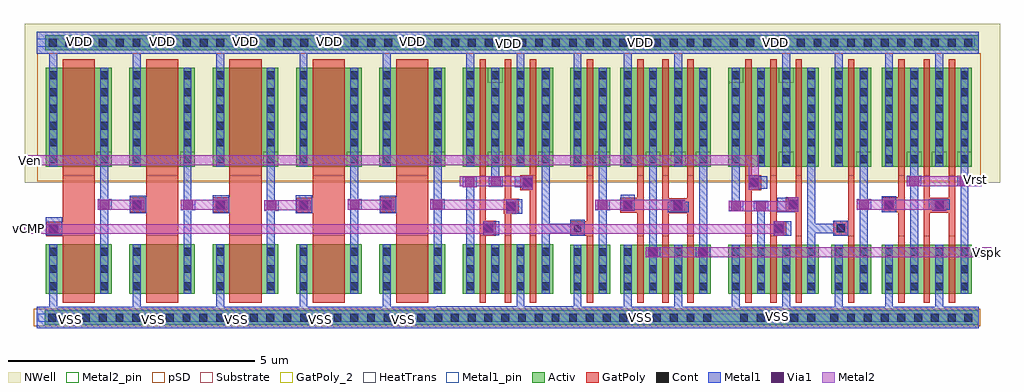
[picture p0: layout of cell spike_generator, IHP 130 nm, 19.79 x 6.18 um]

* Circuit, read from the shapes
.subckt spike_generator VDD VSS Ven Vrst Vspk vCMP
XM1 n1 vCMP VSS VSS sg13_lv_nmos w=1u l=0.65u
XM2 n2 n1 VSS VSS sg13_lv_nmos w=1u l=0.65u
XM3 n3 n2 VSS VSS sg13_lv_nmos w=1u l=0.65u
XM4 n4 n3 VSS VSS sg13_lv_nmos w=1u l=0.65u
XM5 n5 n4 VSS VSS sg13_lv_nmos w=1u l=0.65u
XM6 n6 vCMP n7 VSS sg13_lv_nmos w=1u l=0.13u
XM7 VSS n5 n6 VSS sg13_lv_nmos w=1u l=0.13u
XM8 n8 n7 VSS VSS sg13_lv_nmos w=1u l=0.13u
XM9 n9 n8 VSS VSS sg13_lv_nmos w=1u l=0.13u
XM10 Vspk n9 VSS VSS sg13_lv_nmos w=1u l=0.13u m=3
XM11 n10 Ven VSS VSS sg13_lv_nmos w=1u l=0.13u
XM12 VSS vCMP n10 VSS sg13_lv_nmos w=1u l=0.13u
XM13 n11 n10 VSS VSS sg13_lv_nmos w=1u l=0.13u
XM14 n12 n11 VSS VSS sg13_lv_nmos w=1u l=0.13u
XM15 Vrst n12 VSS VSS sg13_lv_nmos w=1u l=0.13u m=3
XM16 n1 vCMP VDD VDD sg13_lv_pmos w=2u l=0.65u
XM17 n2 n1 VDD VDD sg13_lv_pmos w=2u l=0.65u
XM18 n3 n2 VDD VDD sg13_lv_pmos w=2u l=0.65u
XM19 n4 n3 VDD VDD sg13_lv_pmos w=2u l=0.65u
XM20 n5 n4 VDD VDD sg13_lv_pmos w=2u l=0.65u
XM21 n7 vCMP VDD VDD sg13_lv_pmos w=2u l=0.13u
XM22 VDD n5 n7 VDD sg13_lv_pmos w=2u l=0.13u
XM23 n8 n7 VDD VDD sg13_lv_pmos w=2u l=0.13u
XM24 n9 n8 VDD VDD sg13_lv_pmos w=2u l=0.13u
XM25 Vspk n9 VDD VDD sg13_lv_pmos w=2u l=0.13u m=3
XM26 n13 Ven n10 VDD sg13_lv_pmos w=2u l=0.13u
XM27 VDD vCMP n13 VDD sg13_lv_pmos w=2u l=0.13u
XM28 n11 n10 VDD VDD sg13_lv_pmos w=2u l=0.13u
XM29 n12 n11 VDD VDD sg13_lv_pmos w=2u l=0.13u
XM30 Vrst n12 VDD VDD sg13_lv_pmos w=2u l=0.13u m=3
.ends

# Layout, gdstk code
from math import pi, radians
import gdstk
lib = gdstk.Library(unit=1e-6, precision=1e-09)
def R(c, l, rs):  # rectangles x0, y0, x1, y1
    for r in rs: c.add(gdstk.rectangle(r[:2], r[2:], *l))
def A(c, l, x, y, w, h, nx, ny, dx, dy):  # array of equal rectangles
    R(c, l, [(x+i*dx, y+j*dy, x+i*dx+w, y+j*dy+h) for i in range(nx) for j in range(ny)])
def P(c, l, *ps):  # polygons
    for p in ps: c.add(gdstk.Polygon(p, *l))
Activ = (1, 0)
GatPoly = (5, 0)
GatPoly_2 = (5, 2)
Cont = (6, 0)
Metal1 = (8, 0)
Metal1_pin = (8, 2)
Metal2 = (10, 0)
Metal2_pin = (10, 2)
pSD = (14, 0)
Via1 = (19, 0)
NWell = (31, 0)
Substrate = (40, 0)
HeatTrans = (51, 0)

nmos = lib.new_cell('nmos')
R(nmos, Activ, [(0,0,0.3,0.3), (0,0,0.81,1), (0.51,0,0.81,0.3)])
R(nmos, GatPoly, [(0.34,-0.18,0.47,1.18)])
R(nmos, GatPoly_2, [(0.34,-0.18,0.47,1.18)])
A(nmos, Cont, 0.07, 0.07, 0.16, 0.16, 1, 3, 0, 0.35)
A(nmos, Cont, 0.58, 0.07, 0.16, 0.16, 1, 3, 0, 0.35)
R(nmos, Metal1, [(0.07,0,0.23,1), (0.58,0,0.74,1)])
R(nmos, Metal1_pin, [(0.07,0,0.23,1), (0.58,0,0.74,1)])
R(nmos, HeatTrans, [(0.34,-0.18,0.47,1.18)])
nmos.add(gdstk.Label('nmos', (0.405,0.5), layer=63, texttype=0))
nmos.add(gdstk.Label('nmos', (0.405,0.5), layer=51, texttype=0))

via_stack = lib.new_cell('via_stack')
R(via_stack, Metal1, [(-0.145,-0.105,0.145,0.105)])
R(via_stack, Metal2, [(-0.145,-0.1,0.145,0.1)])
R(via_stack, Via1, [(-0.095,-0.095,0.095,0.095)])

pmos = lib.new_cell('pmos')
R(pmos, Activ, [(0,0,0.3,0.3), (0,0,0.81,2), (0.51,0,0.81,0.3)])
R(pmos, GatPoly, [(0.34,-0.18,0.47,2.18), (0.34,-0.18,0.47,2.18)])
A(pmos, Cont, 0.07, 0.07, 0.16, 0.16, 1, 6, 0, 0.34)
A(pmos, Cont, 0.58, 0.07, 0.16, 0.16, 1, 6, 0, 0.34)
R(pmos, Metal1, [(0.07,0,0.23,2), (0.07,0,0.23,2), (0.58,0,0.74,2), (0.58,0,0.74,2)])
R(pmos, pSD, [(-0.18,-0.3,0.99,2.3)])
R(pmos, NWell, [(-0.31,-0.31,1.12,2.31)])
R(pmos, Substrate, [(0.51,0,0.81,0.3)])
R(pmos, HeatTrans, [(0.34,-0.18,0.47,2.18)])
pmos.add(gdstk.Label('pmos', (0.405,1), layer=63, texttype=0))
pmos.add(gdstk.Label('pmos', (0.405,1), layer=51, texttype=0))

via_stack_5 = lib.new_cell('via_stack$5')
R(via_stack_5, Activ, [(-1.51,-0.15,1.51,0.15)])
A(via_stack_5, Cont, -1.44, -0.08, 0.16, 0.16, 9, 1, 0.34, 0)
R(via_stack_5, Metal1, [(-1.49,-0.08,1.49,0.08)])

via_stack_2 = lib.new_cell('via_stack$2')
R(via_stack_2, GatPoly, [(-0.15,-0.15,0.15,0.15)])
R(via_stack_2, Cont, [(-0.08,-0.08,0.08,0.08)])
R(via_stack_2, Metal1, [(-0.145,-0.105,0.145,0.105)])
R(via_stack_2, Metal2, [(-0.145,-0.1,0.145,0.1)])
R(via_stack_2, Via1, [(-0.095,-0.095,0.095,0.095)])

via_stack_6 = lib.new_cell('via_stack$6')
R(via_stack_6, GatPoly, [(-0.15,-0.15,0.15,0.15)])
R(via_stack_6, Cont, [(-0.08,-0.08,0.08,0.08)])
R(via_stack_6, Metal1, [(-0.13,-0.08,0.13,0.08)])

via_stack_2_10 = lib.new_cell('via_stack$2$10')
R(via_stack_2_10, GatPoly, [(-5.15,-5.15,-4.85,-4.85)])
R(via_stack_2_10, Cont, [(-5.08,-5.08,-4.92,-4.92)])
R(via_stack_2_10, Metal1, [(-5.145,-5.105,-4.855,-4.895)])
R(via_stack_2_10, Metal2, [(-5.145,-5.1,-4.855,-4.9)])
R(via_stack_2_10, Via1, [(-5.095,-5.095,-4.905,-4.905)])

via_stack_3_4 = lib.new_cell('via_stack$3$4')
R(via_stack_3_4, Metal1, [(-5.145,-5.105,-4.855,-4.895)])
R(via_stack_3_4, Metal2, [(-5.145,-5.1,-4.855,-4.9)])
R(via_stack_3_4, Via1, [(-5.095,-5.095,-4.905,-4.905)])

nmos_1_5 = lib.new_cell('nmos$1$5')
R(nmos_1_5, Activ, [(-5,-5,-4.7,-4.7), (-5,-5,-4.19,-4), (-4.49,-5,-4.19,-4.7)])
R(nmos_1_5, GatPoly, [(-4.66,-5.18,-4.53,-3.82)])
R(nmos_1_5, GatPoly_2, [(-4.66,-5.18,-4.53,-3.82)])
A(nmos_1_5, Cont, -4.93, -4.93, 0.16, 0.16, 1, 3, 0, 0.35)
A(nmos_1_5, Cont, -4.42, -4.93, 0.16, 0.16, 1, 3, 0, 0.35)
R(nmos_1_5, Metal1, [(-4.93,-5,-4.77,-4), (-4.42,-5,-4.26,-4)])
R(nmos_1_5, Metal1_pin, [(-4.93,-5,-4.77,-4), (-4.42,-5,-4.26,-4)])
R(nmos_1_5, HeatTrans, [(-4.66,-5.18,-4.53,-3.82)])
nmos_1_5.add(gdstk.Label('nmos', (-4.595,-4.5), layer=63, texttype=0))
nmos_1_5.add(gdstk.Label('nmos', (-4.595,-4.5), layer=51, texttype=0))

pmos_1_10 = lib.new_cell('pmos$1$10')
R(pmos_1_10, Activ, [(-5,-5,-4.7,-4.7), (-5,-5,-4.19,-3), (-4.49,-5,-4.19,-4.7)])
R(pmos_1_10, GatPoly, [(-4.66,-5.18,-4.53,-2.82), (-4.66,-5.18,-4.53,-2.82)])
A(pmos_1_10, Cont, -4.93, -4.93, 0.16, 0.16, 1, 6, 0, 0.34)
A(pmos_1_10, Cont, -4.42, -4.93, 0.16, 0.16, 1, 6, 0, 0.34)
R(pmos_1_10, Metal1, [(-4.93,-5,-4.77,-3), (-4.93,-5,-4.77,-3), (-4.42,-5,-4.26,-3), (-4.42,-5,-4.26,-3)])
R(pmos_1_10, pSD, [(-5.18,-5.3,-4.01,-2.7)])
R(pmos_1_10, NWell, [(-5.31,-5.31,-3.88,-2.69)])
R(pmos_1_10, Substrate, [(-4.49,-5,-4.19,-4.7)])
R(pmos_1_10, HeatTrans, [(-4.66,-5.18,-4.53,-2.82)])
pmos_1_10.add(gdstk.Label('pmos', (-4.595,-4), layer=63, texttype=0))
pmos_1_10.add(gdstk.Label('pmos', (-4.595,-4), layer=51, texttype=0))

pmos_1_9 = lib.new_cell('pmos$1$9')
R(pmos_1_9, Activ, [(-5,-5,-4.7,-4.7), (-5,-5,-3.67,-3), (-3.97,-5,-3.67,-4.7)])
R(pmos_1_9, GatPoly, [(-4.66,-5.18,-4.01,-2.82), (-4.66,-5.18,-4.01,-2.82)])
A(pmos_1_9, Cont, -4.93, -4.93, 0.16, 0.16, 1, 6, 0, 0.34)
A(pmos_1_9, Cont, -3.9, -4.93, 0.16, 0.16, 1, 6, 0, 0.34)
R(pmos_1_9, Metal1, [(-4.93,-5,-4.77,-3), (-4.93,-5,-4.77,-3), (-3.9,-5,-3.74,-3), (-3.9,-5,-3.74,-3)])
R(pmos_1_9, pSD, [(-5.18,-5.3,-3.49,-2.7)])
R(pmos_1_9, NWell, [(-5.31,-5.31,-3.36,-2.69)])
R(pmos_1_9, Substrate, [(-3.97,-5,-3.67,-4.7)])
R(pmos_1_9, HeatTrans, [(-4.66,-5.18,-4.01,-2.82)])
pmos_1_9.add(gdstk.Label('pmos', (-4.335,-4), layer=63, texttype=0))
pmos_1_9.add(gdstk.Label('pmos', (-4.335,-4), layer=51, texttype=0))

nmos_5 = lib.new_cell('nmos$5')
R(nmos_5, Activ, [(-5,-5,-4.7,-4.7), (-5,-5,-3.67,-4), (-3.97,-5,-3.67,-4.7)])
R(nmos_5, GatPoly, [(-4.66,-5.18,-4.01,-3.82)])
R(nmos_5, GatPoly_2, [(-4.66,-5.18,-4.01,-3.82)])
A(nmos_5, Cont, -4.93, -4.93, 0.16, 0.16, 1, 3, 0, 0.35)
A(nmos_5, Cont, -3.9, -4.93, 0.16, 0.16, 1, 3, 0, 0.35)
R(nmos_5, Metal1, [(-4.93,-5,-4.77,-4), (-3.9,-5,-3.74,-4)])
R(nmos_5, Metal1_pin, [(-4.93,-5,-4.77,-4), (-3.9,-5,-3.74,-4)])
R(nmos_5, HeatTrans, [(-4.66,-5.18,-4.01,-3.82)])
nmos_5.add(gdstk.Label('nmos', (-4.335,-4.5), layer=63, texttype=0))
nmos_5.add(gdstk.Label('nmos', (-4.335,-4.5), layer=51, texttype=0))

pmos_1_8 = lib.new_cell('pmos$1$8')
R(pmos_1_8, Activ, [(-5,-5,-4.7,-4.7), (-5,-5,-3.67,-3), (-3.97,-5,-3.67,-4.7)])
R(pmos_1_8, GatPoly, [(-4.66,-5.18,-4.01,-2.82), (-4.66,-5.18,-4.01,-2.82)])
A(pmos_1_8, Cont, -4.93, -4.93, 0.16, 0.16, 1, 6, 0, 0.34)
A(pmos_1_8, Cont, -3.9, -4.93, 0.16, 0.16, 1, 6, 0, 0.34)
R(pmos_1_8, Metal1, [(-4.93,-5,-4.77,-3), (-4.93,-5,-4.77,-3), (-3.9,-5,-3.74,-3), (-3.9,-5,-3.74,-3)])
R(pmos_1_8, pSD, [(-5.18,-5.3,-3.49,-2.7)])
R(pmos_1_8, NWell, [(-5.31,-5.31,-3.36,-2.69)])
R(pmos_1_8, Substrate, [(-3.97,-5,-3.67,-4.7)])
R(pmos_1_8, HeatTrans, [(-4.66,-5.18,-4.01,-2.82)])
pmos_1_8.add(gdstk.Label('pmos', (-4.335,-4), layer=63, texttype=0))
pmos_1_8.add(gdstk.Label('pmos', (-4.335,-4), layer=51, texttype=0))

nmos_4 = lib.new_cell('nmos$4')
R(nmos_4, Activ, [(-5,-5,-4.7,-4.7), (-5,-5,-3.67,-4), (-3.97,-5,-3.67,-4.7)])
R(nmos_4, GatPoly, [(-4.66,-5.18,-4.01,-3.82)])
R(nmos_4, GatPoly_2, [(-4.66,-5.18,-4.01,-3.82)])
A(nmos_4, Cont, -4.93, -4.93, 0.16, 0.16, 1, 3, 0, 0.35)
A(nmos_4, Cont, -3.9, -4.93, 0.16, 0.16, 1, 3, 0, 0.35)
R(nmos_4, Metal1, [(-4.93,-5,-4.77,-4), (-3.9,-5,-3.74,-4)])
R(nmos_4, Metal1_pin, [(-4.93,-5,-4.77,-4), (-3.9,-5,-3.74,-4)])
R(nmos_4, HeatTrans, [(-4.66,-5.18,-4.01,-3.82)])
nmos_4.add(gdstk.Label('nmos', (-4.335,-4.5), layer=63, texttype=0))
nmos_4.add(gdstk.Label('nmos', (-4.335,-4.5), layer=51, texttype=0))

via_stack_9 = lib.new_cell('via_stack$9')
R(via_stack_9, Activ, [(-5.25,-0.15,5.25,0.15)])
A(via_stack_9, Cont, -5.18, -0.08, 0.16, 0.16, 31, 1, 0.34, 0)
R(via_stack_9, Metal1, [(-5.23,-0.08,5.23,0.08)])

nmos_1 = lib.new_cell('nmos$1')
R(nmos_1, Activ, [(0,0,0.3,0.3), (0,0,0.81,1), (0.51,0,0.81,0.3)])
R(nmos_1, GatPoly, [(0.34,-0.18,0.47,1.18)])
R(nmos_1, GatPoly_2, [(0.34,-0.18,0.47,1.18)])
A(nmos_1, Cont, 0.07, 0.07, 0.16, 0.16, 1, 3, 0, 0.35)
A(nmos_1, Cont, 0.58, 0.07, 0.16, 0.16, 1, 3, 0, 0.35)
R(nmos_1, Metal1, [(0.07,0,0.23,1), (0.58,0,0.74,1)])
R(nmos_1, Metal1_pin, [(0.07,0,0.23,1), (0.58,0,0.74,1)])
R(nmos_1, HeatTrans, [(0.34,-0.18,0.47,1.18)])
nmos_1.add(gdstk.Label('nmos', (0.405,0.5), layer=63, texttype=0))
nmos_1.add(gdstk.Label('nmos', (0.405,0.5), layer=51, texttype=0))

via_stack_3 = lib.new_cell('via_stack$3')
R(via_stack_3, Activ, [(-0.15,-0.83,0.15,0.83)])
A(via_stack_3, Cont, -0.08, -0.76, 0.16, 0.16, 1, 5, 0, 0.34)
R(via_stack_3, Metal1, [(-0.08,-0.81,0.08,0.81)])

via_stack_4 = lib.new_cell('via_stack$4')
R(via_stack_4, Activ, [(-0.15,-1,0.15,1)])
A(via_stack_4, Cont, -0.08, -0.93, 0.16, 0.16, 1, 6, 0, 0.34)
R(via_stack_4, Metal1, [(-0.08,-0.98,0.08,0.98)])

spike_generator = lib.new_cell('spike_generator')
R(spike_generator, Activ, [(14.135,0.05,17.655,0.35), (19.315,0.05,22.56,0.35), (13.95,5.62,17.445,5.92), (19.445,5.62,22.56,5.92)])
A(spike_generator, GatPoly, 17.83, 1.835, 0.13, 1.245, 3, 1, 0.51, 0)
A(spike_generator, GatPoly, 3.995, 1.865, 0.65, 1.215, 5, 1, 1.69, 0)
R(spike_generator, GatPoly, [(3.96,1.845,3.995,2.145), (14.58,1.855,14.62,2.155), (12.445,1.865,12.575,3.08), (12.955,1.865,13.085,3.08), (13.465,1.865,13.595,3.085), (16.28,2.315,16.66,2.615), (9.03,2.325,9.065,2.625), (15.6,2.325,15.64,2.625), (21.575,2.325,21.955,2.625), (7.34,2.335,7.375,2.635), (7.34,2.335,7.375,2.635), (20.895,2.335,20.935,2.635), (5.65,2.34,5.685,2.64), (10.72,2.34,10.755,2.64), (10.72,2.34,10.755,2.64)])
A(spike_generator, Metal1, 4.755, 1.685, 0.16, 1.61, 5, 1, 1.69, 0)
A(spike_generator, Metal1, 3.725, 5.21, 0.16, 0.4, 5, 1, 1.69, 0)
R(spike_generator, Metal1, [(11.575,-0.015,14.35,0.425), (10.485,0.16,10.645,0.685), (3.725,0.23,3.885,0.685), (7.105,0.23,7.265,0.685), (8.795,0.23,8.955,0.685), (5.415,0.31,5.575,0.835), (17.56,0.42,17.72,0.68), (18.58,0.42,18.74,0.68), (13.195,0.425,13.355,0.715), (12.175,1.655,12.34,2.9), (19.09,1.655,19.25,3.26), (13.705,1.675,13.865,3.31), (18.07,1.68,18.23,2.355), (14.285,1.86,14.575,2.18), (18.62,1.86,18.76,2.15), (19.615,1.86,19.915,2.16), (12.7,1.865,12.845,2.155), (3.655,1.87,3.99,2.23), (13.11,2.305,13.31,2.6), (5.35,2.31,5.685,2.67), (10.42,2.31,10.755,2.67), (7.04,2.315,7.375,2.675), (8.72,2.315,9.055,2.675), (16.255,2.34,16.685,2.55), (18.48,2.34,18.82,2.63), (20.6,2.34,20.89,2.66), (15.305,2.37,15.595,2.69), (21.55,2.385,21.98,2.595), (17.56,2.555,17.72,3.29), (18.005,2.81,18.275,3.06), (13.155,2.84,13.525,3.06), (12.685,3.005,12.845,3.285), (12.175,5.195,12.335,5.61), (13.195,5.195,13.355,5.61), (18.58,5.215,18.74,5.55)])
P(spike_generator, Metal1, [(13.195,1.685),(13.195,1.685),(13.355,1.685),(13.355,1.685)],
  [(13.195,1.685),(13.195,1.685),(13.355,1.685),(13.355,1.685)])
R(spike_generator, Metal1_pin, [(3.5,0.12,22.435,0.28), (3.465,5.695,22.485,5.855)])
R(spike_generator, Metal2, [(3.21,1.895,3.665,2.095), (3.955,1.895,12.525,2.095), (8.08,2.375,9.025,2.575), (6.39,2.385,7.335,2.585), (4.7,2.39,5.645,2.59), (9.77,2.39,10.715,2.59), (11.735,2.39,12.99,2.59), (12.04,2.86,13.46,3.06)])
R(spike_generator, Metal2_pin, [(22.67,1.425,22.82,1.625), (3.21,1.895,3.38,2.095), (22.42,2.865,22.62,3.065), (3.26,3.29,3.43,3.49)])
A(spike_generator, pSD, 3.41, 0.02, 1.82, 0.36, 4, 1, 1.69, 0)
R(spike_generator, pSD, [(9.925,0.02,14.32,0.38), (14.115,0.02,17.535,0.38), (17.535,0.02,19.406,0.38), (19.406,0.02,22.59,0.38), (3.475,2.96,14.115,5.56)])
A(spike_generator, NWell, 3.225, 2.93, 2.185, 3.23, 3, 1, 1.69, 0)
R(spike_generator, NWell, [(7.985,2.93,14.375,6.16), (13.925,2.93,17.505,6.16), (17.15,2.93,19.705,6.16), (19.395,2.93,22.995,6.16)])
spike_generator.add(gdstk.FlexPath([(14.285,2.005),(13.865,2.005)], 0.2, ends="flush", simple_path=True, layer=8, datatype=0))  # Metal1
spike_generator.add(gdstk.FlexPath([(14.43,5.26),(14.43,5.55)], 0.16, ends="flush", simple_path=True, layer=8, datatype=0))  # Metal1
spike_generator.add(gdstk.FlexPath([(14.94,3.26),(14.94,1.68)], 0.16, ends="flush", simple_path=True, layer=8, datatype=0))  # Metal1
spike_generator.add(gdstk.FlexPath([(15.45,5.26),(15.45,5.55)], 0.16, ends="flush", simple_path=True, layer=8, datatype=0))  # Metal1
spike_generator.add(gdstk.FlexPath([(16.47,5.26),(16.47,5.55)], 0.16, ends="flush", simple_path=True, layer=8, datatype=0))  # Metal1
spike_generator.add(gdstk.FlexPath([(21.765,5.26),(21.765,5.55)], 0.16, ends="flush", simple_path=True, layer=8, datatype=0))  # Metal1
spike_generator.add(gdstk.FlexPath([(20.745,5.26),(20.745,5.55)], 0.16, ends="flush", simple_path=True, layer=8, datatype=0))  # Metal1
spike_generator.add(gdstk.FlexPath([(19.725,5.26),(19.725,5.55)], 0.16, ends="flush", simple_path=True, layer=8, datatype=0))  # Metal1
spike_generator.add(gdstk.FlexPath([(19.615,2.005),(19.25,2.005)], 0.2, ends="flush", simple_path=True, layer=8, datatype=0))  # Metal1
spike_generator.add(gdstk.FlexPath([(15.96,3.29),(15.96,1.68)], 0.16, ends="flush", simple_path=True, layer=8, datatype=0))  # Metal1
spike_generator.add(gdstk.FlexPath([(16.98,3.29),(16.98,1.68)], 0.16, ends="flush", simple_path=True, layer=8, datatype=0))  # Metal1
spike_generator.add(gdstk.FlexPath([(14.145,0.2),(17.545,0.2)], 0.44, ends="flush", simple_path=True, layer=8, datatype=0))  # Metal1
spike_generator.add(gdstk.FlexPath([(14.43,0.42),(14.43,0.68)], 0.16, ends="flush", simple_path=True, layer=8, datatype=0))  # Metal1
spike_generator.add(gdstk.FlexPath([(15.45,0.68),(15.45,0.42)], 0.16, ends="flush", simple_path=True, layer=8, datatype=0))  # Metal1
spike_generator.add(gdstk.FlexPath([(16.47,0.68),(16.47,0.42)], 0.16, ends="flush", simple_path=True, layer=8, datatype=0))  # Metal1
spike_generator.add(gdstk.FlexPath([(10.23,0.2),(11.93,0.2)], 0.44, ends="flush", simple_path=True, layer=8, datatype=0))  # Metal1
spike_generator.add(gdstk.FlexPath([(8.54,0.2),(10.24,0.2)], 0.44, ends="flush", simple_path=True, layer=8, datatype=0))  # Metal1
spike_generator.add(gdstk.FlexPath([(6.85,0.2),(8.55,0.2)], 0.44, ends="flush", simple_path=True, layer=8, datatype=0))  # Metal1
spike_generator.add(gdstk.FlexPath([(5.16,0.2),(6.86,0.2)], 0.44, ends="flush", simple_path=True, layer=8, datatype=0))  # Metal1
spike_generator.add(gdstk.FlexPath([(3.47,0.2),(5.17,0.2)], 0.44, ends="flush", simple_path=True, layer=8, datatype=0))  # Metal1
spike_generator.add(gdstk.FlexPath([(3.465,5.77),(22.56,5.77)], 0.44, ends="flush", simple_path=True, layer=8, datatype=0))  # Metal1
spike_generator.add(gdstk.FlexPath([(17.545,0.2),(22.56,0.2)], 0.44, ends="flush", simple_path=True, layer=8, datatype=0))  # Metal1
spike_generator.add(gdstk.FlexPath([(21.765,0.68),(21.765,0.42)], 0.16, ends="flush", simple_path=True, layer=8, datatype=0))  # Metal1
spike_generator.add(gdstk.FlexPath([(20.745,0.68),(20.745,0.42)], 0.16, ends="flush", simple_path=True, layer=8, datatype=0))  # Metal1
spike_generator.add(gdstk.FlexPath([(19.725,0.42),(19.725,0.68)], 0.16, ends="flush", simple_path=True, layer=8, datatype=0))  # Metal1
spike_generator.add(gdstk.FlexPath([(22.275,3.29),(22.275,1.68)], 0.16, ends="flush", simple_path=True, layer=8, datatype=0))  # Metal1
spike_generator.add(gdstk.FlexPath([(21.255,3.29),(21.255,1.68)], 0.16, ends="flush", simple_path=True, layer=8, datatype=0))  # Metal1
spike_generator.add(gdstk.FlexPath([(20.235,3.29),(20.235,1.68)], 0.16, ends="flush", simple_path=True, layer=8, datatype=0))  # Metal1
spike_generator.add(gdstk.FlexPath([(16.105,1.525),(17.325,1.525)], 0.2, ends="flush", simple_path=True, layer=10, datatype=0))  # Metal2
spike_generator.add(gdstk.FlexPath([(17.325,1.525),(22.82,1.525)], 0.2, ends="flush", simple_path=True, layer=10, datatype=0))  # Metal2
spike_generator.add(gdstk.FlexPath([(17.545,2.46),(18.91,2.46)], 0.2, ends="flush", simple_path=True, layer=10, datatype=0))  # Metal2
spike_generator.add(gdstk.FlexPath([(18.415,1.995),(12.725,1.995)], 0.2, ends="flush", simple_path=True, layer=10, datatype=0))  # Metal2
spike_generator.add(gdstk.FlexPath([(3.26,3.39),(3.31,3.39),(18.105,3.39)], 0.2, ends="flush", simple_path=True, layer=10, datatype=0))  # Metal2
spike_generator.add(gdstk.FlexPath([(18.005,3.08),(18.005,3.29)], 0.2, ends="flush", simple_path=True, layer=10, datatype=0))  # Metal2
spike_generator.add(gdstk.FlexPath([(15.085,2.485),(16.615,2.485)], 0.2, ends="flush", simple_path=True, layer=10, datatype=0))  # Metal2
spike_generator.add(gdstk.FlexPath([(20.38,2.49),(21.91,2.49)], 0.2, ends="flush", simple_path=True, layer=10, datatype=0))  # Metal2
spike_generator.add(gdstk.FlexPath([(21.395,2.965),(22.62,2.965)], 0.2, ends="flush", simple_path=True, layer=10, datatype=0))  # Metal2
spike_generator.add(gdstk.FlexPath([(19.98,3.08),(19.98,1.86)], 0.13, ends="flush", simple_path=True, layer=5, datatype=0))  # GatPoly
spike_generator.add(gdstk.FlexPath([(21,3.08),(21,1.86)], 0.13, ends="flush", simple_path=True, layer=5, datatype=0))  # GatPoly
spike_generator.add(gdstk.FlexPath([(21.51,3.08),(21.51,1.86)], 0.13, ends="flush", simple_path=True, layer=5, datatype=0))  # GatPoly
spike_generator.add(gdstk.FlexPath([(22.02,3.08),(22.02,1.86)], 0.13, ends="flush", simple_path=True, layer=5, datatype=0))  # GatPoly
spike_generator.add(gdstk.FlexPath([(14.685,3.08),(14.685,1.86)], 0.13, ends="flush", simple_path=True, layer=5, datatype=0))  # GatPoly
spike_generator.add(gdstk.FlexPath([(15.705,3.08),(15.705,1.86)], 0.13, ends="flush", simple_path=True, layer=5, datatype=0))  # GatPoly
spike_generator.add(gdstk.FlexPath([(16.215,3.11),(16.215,1.86)], 0.13, ends="flush", simple_path=True, layer=5, datatype=0))  # GatPoly
spike_generator.add(gdstk.FlexPath([(16.725,3.11),(16.725,1.86)], 0.13, ends="flush", simple_path=True, layer=5, datatype=0))  # GatPoly
spike_generator.add(gdstk.Reference(nmos, (14.28,0.68)))
spike_generator.add(gdstk.Reference(nmos, (16.32,0.68)))
spike_generator.add(gdstk.Reference(nmos, (15.81,0.68)))
spike_generator.add(gdstk.Reference(nmos, (15.3,0.68)))
spike_generator.add(gdstk.Reference(via_stack, (14.94,2.485), rotation=pi))
spike_generator.add(gdstk.Reference(pmos, (14.28,3.26)))
spike_generator.add(gdstk.Reference(pmos, (15.81,3.26)))
spike_generator.add(gdstk.Reference(pmos, (16.32,3.26)))
spike_generator.add(gdstk.Reference(via_stack_5, (15.7,5.77)))
spike_generator.add(gdstk.Reference(via_stack_2, (16.47,2.465)))
spike_generator.add(gdstk.Reference(pmos, (15.3,3.26)))
spike_generator.add(gdstk.Reference(via_stack_2, (15.45,2.475)))
spike_generator.add(gdstk.Reference(via_stack, (15.96,1.525)))
spike_generator.add(gdstk.Reference(via_stack_6, (14.43,2.005)))
spike_generator.add(gdstk.Reference(via_stack_5, (15.7,0.2)))
spike_generator.add(gdstk.Reference(via_stack_2, (3.81,1.995)))
spike_generator.add(gdstk.Reference(via_stack, (11.59,2.49)))
spike_generator.add(gdstk.Reference(via_stack_2_10, (18.42,-2.065), rotation=3*pi/2))
spike_generator.add(gdstk.Reference(via_stack_2_10, (18.09,-2.545), rotation=3*pi/2))
spike_generator.add(gdstk.Reference(via_stack_3_4, (17.775,7.96)))
spike_generator.add(gdstk.Reference(via_stack_3_4, (17.245,7.945)))
spike_generator.add(gdstk.Reference(nmos_1_5, (17.615,5.685)))
spike_generator.add(gdstk.Reference(pmos_1_10, (18.125,8.26)))
spike_generator.add(gdstk.Reference(nmos_1_5, (8.935,-3.315), rotation=pi))
spike_generator.add(gdstk.Reference(pmos_1_10, (8.425,0.26), rotation=pi))
spike_generator.add(gdstk.Reference(pmos_1_10, (17.105,8.26)))
spike_generator.add(gdstk.Reference(pmos_1_10, (17.105,8.26)))
spike_generator.add(gdstk.Reference(nmos_1_5, (7.915,-3.315), rotation=pi))
spike_generator.add(gdstk.Reference(via_stack, (9.915,2.49)))
spike_generator.add(gdstk.Reference(via_stack_2, (10.57,2.49)))
spike_generator.add(gdstk.Reference(via_stack, (8.225,2.475)))
spike_generator.add(gdstk.Reference(via_stack_2, (8.88,2.475)))
spike_generator.add(gdstk.Reference(via_stack, (6.535,2.485)))
spike_generator.add(gdstk.Reference(via_stack_2, (7.19,2.485)))
spike_generator.add(gdstk.Reference(pmos_1_9, (15.415,8.26)))
spike_generator.add(gdstk.Reference(nmos_5, (15.415,5.685)))
spike_generator.add(gdstk.Reference(via_stack, (4.845,2.49)))
spike_generator.add(gdstk.Reference(pmos_1_8, (13.725,8.26)))
spike_generator.add(gdstk.Reference(nmos_4, (13.725,5.685)))
spike_generator.add(gdstk.Reference(via_stack_2, (5.5,2.49)))
spike_generator.add(gdstk.Reference(nmos_4, (12.035,5.685)))
spike_generator.add(gdstk.Reference(pmos_1_8, (12.035,8.26)))
spike_generator.add(gdstk.Reference(pmos_1_8, (10.345,8.26)))
spike_generator.add(gdstk.Reference(nmos_4, (10.345,5.685)))
spike_generator.add(gdstk.Reference(pmos_1_8, (8.655,8.26)))
spike_generator.add(gdstk.Reference(via_stack_9, (8.89,5.77)))
spike_generator.add(gdstk.Reference(via_stack_9, (8.885,0.2)))
spike_generator.add(gdstk.Reference(via_stack, (17.645,2.465)))
spike_generator.add(gdstk.Reference(nmos_1, (18,0.68)))
spike_generator.add(gdstk.Reference(nmos_1, (18.3,1.68), rotation=pi))
spike_generator.add(gdstk.Reference(pmos, (18.3,5.26), rotation=pi))
spike_generator.add(gdstk.Reference(pmos, (18,3.26)))
spike_generator.add(gdstk.Reference(pmos, (19.32,5.26), rotation=pi))
spike_generator.add(gdstk.Reference(via_stack_3, (18.485,0.2), rotation=pi/2))
spike_generator.add(gdstk.Reference(via_stack_2, (18.005,2.935), rotation=pi/2))
spike_generator.add(gdstk.Reference(via_stack_2, (18.515,2.005), rotation=pi/2))
spike_generator.add(gdstk.Reference(nmos_1, (19.32,1.68), rotation=pi))
spike_generator.add(gdstk.Reference(via_stack_2, (18.805,2.49), rotation=pi/2))
spike_generator.add(gdstk.Reference(via_stack_4, (18.445,5.77), rotation=pi/2))
spike_generator.add(gdstk.Reference(via_stack_5, (20.995,0.2)))
spike_generator.add(gdstk.Reference(via_stack_6, (19.765,2.01), rotation=pi))
spike_generator.add(gdstk.Reference(via_stack, (21.25,2.965)))
spike_generator.add(gdstk.Reference(via_stack_2, (20.745,2.485)))
spike_generator.add(gdstk.Reference(via_stack_2, (21.765,2.475)))
spike_generator.add(gdstk.Reference(via_stack, (22.275,2.97)))
spike_generator.add(gdstk.Reference(via_stack_5, (20.995,5.77)))
spike_generator.add(gdstk.Reference(pmos, (21.615,3.26)))
spike_generator.add(gdstk.Reference(pmos, (21.105,3.26)))
spike_generator.add(gdstk.Reference(pmos, (19.575,3.26)))
spike_generator.add(gdstk.Reference(via_stack, (20.235,2.49), rotation=pi))
spike_generator.add(gdstk.Reference(pmos, (20.595,3.26)))
spike_generator.add(gdstk.Reference(nmos, (20.595,0.68)))
spike_generator.add(gdstk.Reference(nmos, (21.105,0.68)))
spike_generator.add(gdstk.Reference(nmos, (21.615,0.68)))
spike_generator.add(gdstk.Reference(nmos, (19.575,0.68)))
spike_generator.add(gdstk.Reference(via_stack_2, (12.625,2.01), rotation=3*pi/2))
spike_generator.add(gdstk.Reference(via_stack, (16.975,1.525), rotation=pi))
spike_generator.add(gdstk.Reference(nmos_4, (8.655,5.685)))
spike_generator.add(gdstk.Reference(via_stack, (18.15,2.46)))
spike_generator.add(gdstk.Label('VDD', (15.7,5.77), layer=8, texttype=25))
spike_generator.add(gdstk.Label('VSS', (15.7,0.195), layer=8, texttype=25))
spike_generator.add(gdstk.Label('VSS', (10.905,0.17), layer=8, texttype=25))
spike_generator.add(gdstk.Label('VDD', (11.085,5.805), layer=8, texttype=25))
spike_generator.add(gdstk.Label('VDD', (9.395,5.805), layer=8, texttype=25))
spike_generator.add(gdstk.Label('VSS', (9.215,0.17), layer=8, texttype=25))
spike_generator.add(gdstk.Label('VDD', (7.705,5.805), layer=8, texttype=25))
spike_generator.add(gdstk.Label('VSS', (7.525,0.17), layer=8, texttype=25))
spike_generator.add(gdstk.Label('VDD', (6.015,5.805), layer=8, texttype=25))
spike_generator.add(gdstk.Label('VSS', (5.835,0.17), layer=8, texttype=25))
spike_generator.add(gdstk.Label('VDD', (4.325,5.805), layer=8, texttype=25))
spike_generator.add(gdstk.Label('VSS', (4.145,0.17), layer=8, texttype=25))
spike_generator.add(gdstk.Label('VDD', (13.025,5.755), layer=8, texttype=25))
spike_generator.add(gdstk.Label('VSS', (18.485,0.225), layer=8, texttype=25))
spike_generator.add(gdstk.Label('VDD', (18.435,5.775), layer=8, texttype=25))
spike_generator.add(gdstk.Label('vCMP', (3.297,2.002), layer=10, texttype=25))
spike_generator.add(gdstk.Label('Vspk', (22.745,1.525), layer=10, texttype=25))
spike_generator.add(gdstk.Label('Ven', (3.345,3.375), layer=10, texttype=25))
spike_generator.add(gdstk.Label('Vrst', (22.5,3.005), layer=10, texttype=25))

lib.write_gds('spike_generator.gds')
